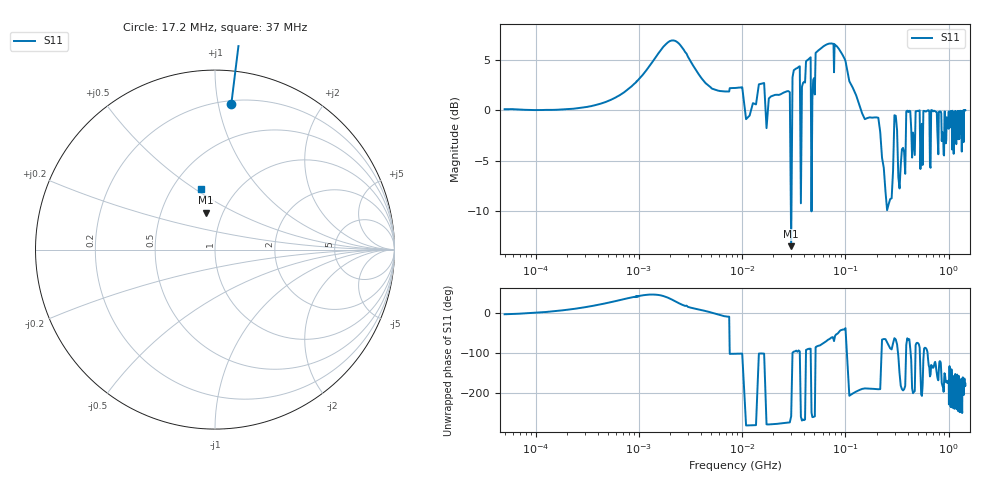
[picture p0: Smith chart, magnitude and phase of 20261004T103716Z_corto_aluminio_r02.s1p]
! piloto_corto / corto_aluminio / r02
# HZ S RI R 50
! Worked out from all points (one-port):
!   501 points, 50 kHz to 1.45 GHz, reference 50 ohm
!   lowest |S11| = -13.5 dB at 29.8 MHz (marker M1), VSWR 1.54, Z = 41.7 + j18 ohm
!   |S11| at or under -10 dB: 29.59 MHz to 29.99 MHz (392.4 kHz wide, 1.32 % of centre); 46.89834 MHz to 46.90228 MHz (3.941 kHz wide, 0.0084 % of centre)
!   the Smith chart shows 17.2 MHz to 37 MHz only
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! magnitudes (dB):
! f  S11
! 50 kHz  0.1
! 183 kHz  0.1
! 658 kHz  1.5
! 2.44 MHz  6.6
! 8.56 MHz  2.2
! 27.1 MHz  1.9
! 29.8 MHz  -13.5
! 31.6 MHz  3.9
! 32.5 MHz  4.0
! 38.8 MHz  2.7
! 44.2 MHz  5.1
! 48.7 MHz  3.0
! 53.2 MHz  5.8
! 67.6 MHz  6.5
! 118 MHz  2.2
! 199 MHz  -0.7
! 262 MHz  -9.3
! 298 MHz  -0.5
! 343 MHz  -5.5
! 406 MHz  -0.2
! 451 MHz  -2.2
! 496 MHz  -0.1
! 550 MHz  -1.4
! 586 MHz  -0.1
! 649 MHz  -0.2
! 829 MHz  -0.1
! 883 MHz  -2.4
! 1.45 GHz  0.0
